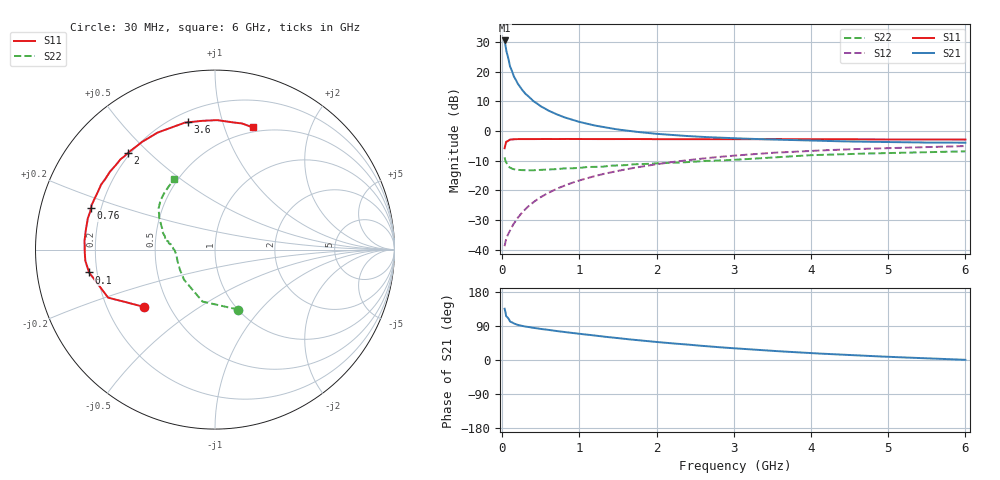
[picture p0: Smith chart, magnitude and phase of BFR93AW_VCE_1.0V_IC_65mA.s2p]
! Infineon Technologies  Discrete & RF Semiconductors
! BFR93AW
! VCE =  1.0 V,  IC =  65 mA
! Common Emitter S-Parameters:  Nov 2015
# GHz  S  MA  R  50
!  f  S11  S21  S12  S22
! GHz  MAG  ANG  MAG  ANG  MAG  ANG  MAG  ANG
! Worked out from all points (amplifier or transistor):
!   206 points, 30 MHz to 6 GHz, reference 50 ohm
!   highest |S21| = 30.5 dB at 30 MHz (marker M1)
!   |S21| within 3 dB of that: start of sweep to 47.74 MHz
!   unconditionally stable (mu >= 1): 85.57 MHz to end of sweep
!   at 200 MHz: K = 1.27, MAG = 19.5 dB, |S12| = -29.3 dB
!   at 1.56 GHz: K = 1.27, MAG = 3.6 dB, |S12| = -13.2 dB
!   at 6 GHz: K = 1.06, MAG = -0.9 dB, |S12| = -5.1 dB
!   S11 on the Smith chart (normalised r, x): 30 MHz: 0.36, -0.31; 100 MHz: 0.17, -0.09; 760 MHz: 0.16, +0.16; 2 GHz: 0.19, +0.43; 3.6 GHz: 0.26, +0.78; 6 GHz: 0.45, +1.25
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0.03  0.5099 -141.3  33.36 135.3  0.0114 57.5  0.3585 -68.8
0.05  0.6529 -155.8  22.58 115.6  0.0152 52.4  0.2976 -103.5
0.1  0.7128 -169.7  12.21 101.6  0.0209 56.3  0.2407 -135.8
0.15  0.7252 -175.0  8.255 96.2  0.0275 63.1  0.2257 -149.8
0.2  0.726 -178.9  6.259 92.6  0.0342 66.0  0.22 -157.8
0.24  0.7261 178.8  5.271 90.8  0.0396 68.4  0.2186 -162.0
0.26  0.7267 177.8  4.862 89.9  0.0424 69.2  0.2181 -163.7
0.3  0.7287 176.2  4.214 88.2  0.0482 70.1  0.2172 -166.2
0.4  0.7281 172.3  3.19 84.9  0.0622 72.0  0.2168 -171.8
0.5  0.7274 169.2  2.589 81.9  0.0766 72.3  0.2203 -175.3
0.6  0.7297 166.3  2.188 79.4  0.0904 71.8  0.2226 -177.5
0.76  0.7291 161.4  1.783 75.0  0.113 71.0  0.23 179.6
0.9  0.729 157.8  1.543 71.6  0.1327 69.8  0.234 177.7
1.04  0.7275 154.0  1.373 68.2  0.1514 68.1  0.2408 175.9
1.44  0.7277 144.5  1.084 59.0  0.2043 63.5  0.2597 172.1
2  0.7251 131.9  0.891 47.5  0.2737 56.5  0.2838 167.7
2.02  0.7247 131.5  0.887 47.2  0.2761 56.2  0.2843 167.4
3.1  0.722 110.5  0.743 29.7  0.3909 42.2  0.3304 155.3
3.6  0.7246 102.0  0.708 22.9  0.4332 35.8  0.362 149.2
4.1  0.7204 94.4  0.68 17.1  0.4666 29.5  0.3929 142.6
5.1  0.7156 82.2  0.645 7.6  0.5162 18.9  0.4252 130.9
6  0.7127 72.9  0.632 0.5  0.5542 10.5  0.4518 120.0
